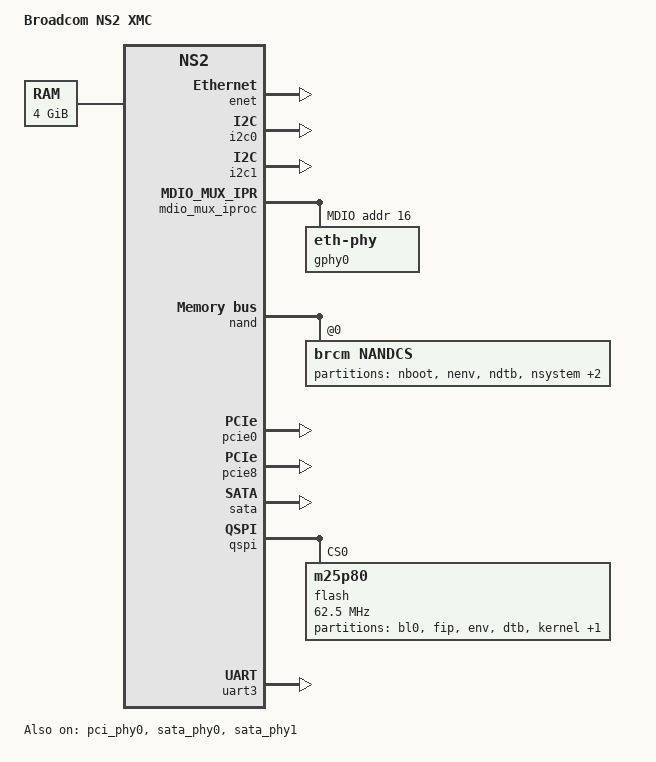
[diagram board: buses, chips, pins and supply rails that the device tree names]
/*
 *  BSD LICENSE
 *
 *  Copyright(c) 2016 Broadcom.  All rights reserved.
 *
 *  Redistribution and use in source and binary forms, with or without
 *  modification, are permitted provided that the following conditions
 *  are met:
 *
 *    * Redistributions of source code must retain the above copyright
 *      notice, this list of conditions and the following disclaimer.
 *    * Redistributions in binary form must reproduce the above copyright
 *      notice, this list of conditions and the following disclaimer in
 *      the documentation and/or other materials provided with the
 *      distribution.
 *    * Neither the name of Broadcom Corporation nor the names of its
 *      contributors may be used to endorse or promote products derived
 *      from this software without specific prior written permission.
 *
 *  THIS SOFTWARE IS PROVIDED BY THE COPYRIGHT HOLDERS AND CONTRIBUTORS
 *  "AS IS" AND ANY EXPRESS OR IMPLIED WARRANTIES, INCLUDING, BUT NOT
 *  LIMITED TO, THE IMPLIED WARRANTIES OF MERCHANTABILITY AND FITNESS FOR
 *  A PARTICULAR PURPOSE ARE DISCLAIMED. IN NO EVENT SHALL THE COPYRIGHT
 *  OWNER OR CONTRIBUTORS BE LIABLE FOR ANY DIRECT, INDIRECT, INCIDENTAL,
 *  SPECIAL, EXEMPLARY, OR CONSEQUENTIAL DAMAGES (INCLUDING, BUT NOT
 *  LIMITED TO, PROCUREMENT OF SUBSTITUTE GOODS OR SERVICES; LOSS OF USE,
 *  DATA, OR PROFITS; OR BUSINESS INTERRUPTION) HOWEVER CAUSED AND ON ANY
 *  THEORY OF LIABILITY, WHETHER IN CONTRACT, STRICT LIABILITY, OR TORT
 *  (INCLUDING NEGLIGENCE OR OTHERWISE) ARISING IN ANY WAY OUT OF THE USE
 * OF THIS SOFTWARE, EVEN IF ADVISED OF THE POSSIBILITY OF SUCH DAMAGE.
 */

/dts-v1/;

#include "ns2.dtsi"

/ {
	model = "Broadcom NS2 XMC";
	compatible = "brcm,ns2-xmc", "brcm,ns2";

	aliases {
		serial0 = &uart3;
	};

	chosen {
		stdout-path = "serial0:115200n8";
		bootargs = "earlycon=uart8250,mmio32,0x66130000";
	};

	memory {
		device_type = "memory";
		reg = <0x000000000 0x80000000 0x00000001 0x00000000>;
	};
};

&enet {
	status = "ok";
};

&i2c0 {
	status = "ok";
};

&i2c1 {
	status = "ok";
};

&mdio_mux_iproc {
	mdio@10 {
		gphy0: eth-phy@10 {
			reg = <0x10>;
		};
	};
};

&nand {
	nandcs@0 {
		compatible = "brcm,nandcs";
		reg = <0>;
		nand-ecc-mode = "hw";
		nand-ecc-strength = <8>;
		nand-ecc-step-size = <512>;
		nand-bus-width = <16>;
		brcm,nand-oob-sector-size = <16>;
		#address-cells = <1>;
		#size-cells = <1>;

		partition@0 {
			label = "nboot";
			reg = <0x00000000 0x00280000>; /*  2.5MB */
			read-only;
		};

		partition@280000 {
			label = "nenv";
			reg = <0x00280000 0x00040000>; /* 0.25MB */
			read-only;
		};

		partition@2c0000 {
			label = "ndtb";
			reg = <0x002c0000 0x00040000>; /* 0.25MB */
			read-only;
		};

		partition@300000 {
			label = "nsystem";
			reg = <0x00300000 0x03d00000>; /*   61MB */
			read-only;
		};

		partition@4000000 {
			label = "nrootfs";
			reg = <0x04000000 0x06400000>; /*  100MB */
		};

		partition@0a400000{
			label = "ncustfs";
			reg = <0x0a400000 0x35c00000>; /*  860MB */
		};
	};
};

&pci_phy0 {
	status = "ok";
};

&pcie0 {
	status = "ok";
};

&pcie8 {
	status = "ok";
};

&sata_phy0 {
	status = "ok";
};

&sata_phy1 {
	status = "ok";
};

&sata {
	status = "ok";
};

&qspi {
	flash: m25p80@0 {
		#address-cells = <1>;
		#size-cells = <1>;
		compatible = "m25p80";
		spi-max-frequency = <62500000>;
		m25p,default-addr-width = <3>;
		reg = <0x0 0x0>;

		partition@0 {
			label = "bl0";
			reg = <0x00000000 0x00080000>; /*  512KB */
		};

		partition@80000 {
			label = "fip";
			reg = <0x00080000 0x00150000>; /* 1344KB */
		};

		partition@1e0000 {
			label = "env";
			reg = <0x001e0000 0x00010000>;/*    64KB */
		};

		partition@1f0000 {
			label = "dtb";
			reg = <0x001f0000 0x00010000>; /*   64KB */
		};

		partition@200000 {
			label = "kernel";
			reg = <0x00200000 0x00e00000>; /*   14MB */
		};

		partition@1000000 {
			label = "rootfs";
			reg = <0x01000000 0x01000000>; /*   16MB */
		};
	};
};

&uart3 {
	status = "ok";
};
